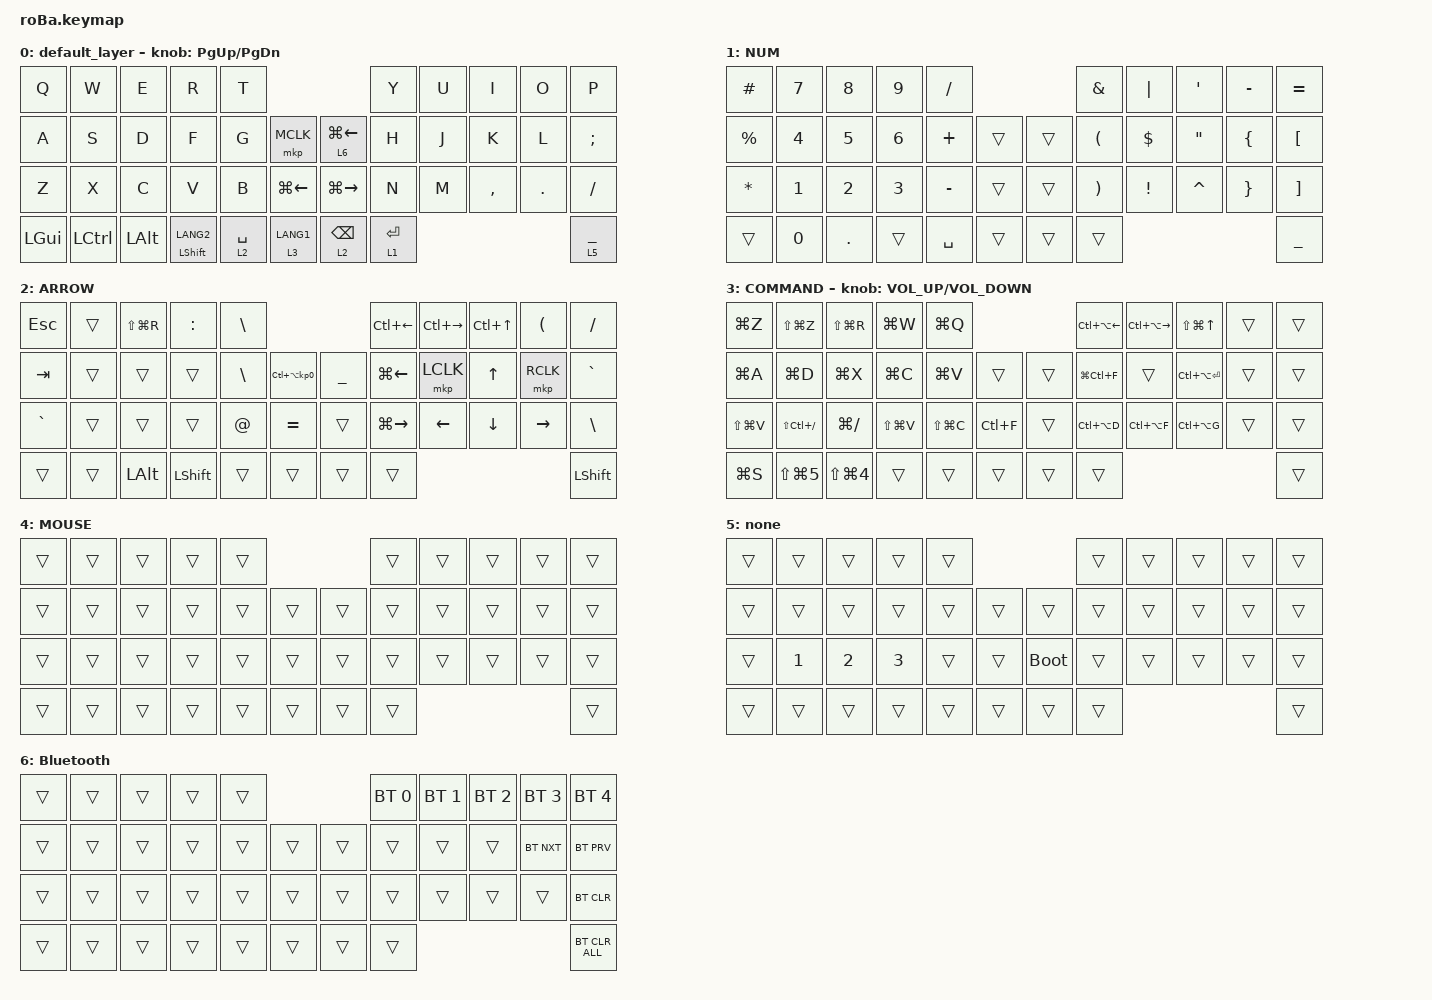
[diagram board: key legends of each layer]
#include <behaviors.dtsi>
#include <dt-bindings/zmk/bt.h>
#include <dt-bindings/zmk/keys.h>
#include <dt-bindings/zmk/mouse.h>

#define MOUSE 4
#define SCROLL 5
#define NUM 6

&mt {
    flavor = "balanced";
    quick-tap-ms = <0>;
};

/ {
    combos {
        compatible = "zmk,combos";

        tab {
            bindings = <&kp TAB>;
            key-positions = <11 12>;
        };

        shift_tab {
            bindings = <&kp LS(TAB)>;
            key-positions = <12 13>;
        };

        muhennkann {
            bindings = <&to_layer_0 INT_MUHENKAN>;
            key-positions = <11 10>;
        };

        double_quotation {
            bindings = <&kp DOUBLE_QUOTES>;
            key-positions = <20 21>;
        };

        eq {
            bindings = <&kp EQUAL>;
            key-positions = <24 25>;
        };
    };

    macros {
        to_layer_0: to_layer_0 {
            compatible = "zmk,behavior-macro-one-param";
            #binding-cells = <1>;
            bindings = <&to 0 &macro_param_1to1 &kp MACRO_PLACEHOLDER>;
            label = "TO_LAYER_0";
        };
    };

    behaviors {
        lt_to_layer_0: lt_to_layer_0 {
            compatible = "zmk,behavior-hold-tap";
            label = "LAYER_TAP_TO_0";
            bindings = <&mo>, <&to_layer_0>;

            #binding-cells = <2>;
            tapping-term-ms = <200>;
        };
    };

    keymap {
        compatible = "zmk,keymap";

        default_layer {
            bindings = <
&kp Q         &kp W             &kp E         &kp R                 &kp T                                                    &kp Y        &kp U  &kp I      &kp O    &kp P
&kp A         &kp S             &kp D         &kp F                 &kp G        &mkp MCLK             &lt 6 LG(LEFT_ARROW)  &kp H        &kp J  &kp K      &kp L    &kp SEMI
&kp Z         &kp X             &kp C         &kp V                 &kp B        &kp LG(LEFT_ARROW)    &kp LG(RIGHT_ARROW)   &kp N        &kp M  &kp COMMA  &kp DOT  &kp SLASH
&kp LEFT_GUI  &kp LEFT_CONTROL  &kp LEFT_ALT  &mt LEFT_SHIFT LANG2  &lt 2 SPACE  &lt 3 LANG1           &lt 2 BACKSPACE       &lt 1 ENTER                             &lt 5 UNDERSCORE
            >;

            sensor-bindings = <&inc_dec_kp PG_UP PAGE_DOWN>;
        };

        NUM {
            bindings = <
&kp HASH      &kp N7        &kp N8        &kp N9        &kp SLASH                    &kp AMPERSAND          &kp PIPE         &kp SINGLE_QUOTE   &kp MINUS        &kp EQUAL
&kp PERCENT   &kp NUMBER_4  &kp N5        &kp NUMBER_6  &kp PLUS   &trans    &trans  &kp LEFT_PARENTHESIS   &kp DOLLAR       &kp DOUBLE_QUOTES  &kp LEFT_BRACE   &kp LEFT_BRACKET
&kp ASTERISK  &kp NUMBER_1  &kp NUMBER_2  &kp NUMBER_3  &kp MINUS  &trans    &trans  &kp RIGHT_PARENTHESIS  &kp EXCLAMATION  &kp CARET          &kp RIGHT_BRACE  &kp RIGHT_BRACKET
&trans        &kp N0        &kp PERIOD    &trans        &kp SPACE  &trans    &trans  &trans                                                                      &kp UNDERSCORE
            >;
        };

        ARROW {
            bindings = <
&kp ESCAPE  &trans  &kp LS(LG(R))  &kp COLON       &kp BACKSLASH                                             &kp LC(LEFT)        &kp LC(RIGHT_ARROW)  &kp LC(UP_ARROW)  &kp LEFT_PARENTHESIS  &kp SLASH
&kp TAB     &trans  &trans         &trans          &kp BACKSLASH  &kp LC(LA(KP_NUMBER_0))    &kp UNDERSCORE  &kp LG(LEFT_ARROW)  &mkp LCLK            &kp UP_ARROW      &mkp RCLK             &kp GRAVE
&kp GRAVE   &trans  &trans         &trans          &kp AT         &kp EQUAL                  &trans          &kp LG(RIGHT)       &kp LEFT_ARROW       &kp DOWN_ARROW    &kp RIGHT_ARROW       &kp BACKSLASH
&trans      &trans  &kp LEFT_ALT   &kp LEFT_SHIFT  &trans         &trans                     &trans          &trans                                                                           &kp LEFT_SHIFT
            >;
        };

        COMMAND {
            bindings = <
&kp LG(Z)      &kp LS(LG(Z))      &kp LS(LG(R))         &kp LG(W)      &kp LG(Q)                           &kp LC(LA(LEFT))  &kp LC(LA(RIGHT))  &kp LS(LG(UP_ARROW))  &trans  &trans
&kp LG(A)      &kp LG(D)          &kp LG(X)             &kp LG(C)      &kp LG(V)      &trans       &trans  &kp LG(LC(F))     &trans             &kp LC(LA(ENTER))     &trans  &trans
&kp LS(LG(V))  &kp LS(LC(SLASH))  &kp LG(SLASH)         &kp LS(LG(V))  &kp LS(LG(C))  &kp LC(F)    &trans  &kp LC(LA(D))     &kp LC(LA(F))      &kp LC(LA(G))         &trans  &trans
&kp LG(S)      &kp LS(LG(N5))     &kp LS(LG(NUMBER_4))  &trans         &trans         &trans       &trans  &trans                                                             &trans
            >;

            sensor-bindings = <&inc_dec_kp C_VOLUME_UP C_VOLUME_DOWN>;
        };

        MOUSE {
            bindings = <
&trans  &trans  &trans  &trans  &trans                    &trans  &trans  &trans  &trans  &trans
&trans  &trans  &trans  &trans  &trans  &trans    &trans  &trans  &trans  &trans  &trans  &trans
&trans  &trans  &trans  &trans  &trans  &trans    &trans  &trans  &trans  &trans  &trans  &trans
&trans  &trans  &trans  &trans  &trans  &trans    &trans  &trans                          &trans
            >;
        };

        none {
            bindings = <
&trans  &trans        &trans        &trans        &trans                         &trans  &trans  &trans  &trans  &trans
&trans  &trans        &trans        &trans        &trans  &trans    &trans       &trans  &trans  &trans  &trans  &trans
&trans  &kp NUMBER_1  &kp NUMBER_2  &kp NUMBER_3  &trans  &trans    &bootloader  &trans  &trans  &trans  &trans  &trans
&trans  &trans        &trans        &trans        &trans  &trans    &trans       &trans                          &trans
            >;
        };

        Bluetooth {
            bindings = <
&trans  &trans  &trans  &trans  &trans                    &bt BT_SEL 0  &bt BT_SEL 1  &bt BT_SEL 2  &bt BT_SEL 3  &bt BT_SEL 4
&trans  &trans  &trans  &trans  &trans  &trans    &trans  &trans        &trans        &trans        &bt BT_NXT    &bt BT_PRV
&trans  &trans  &trans  &trans  &trans  &trans    &trans  &trans        &trans        &trans        &trans        &bt BT_CLR
&trans  &trans  &trans  &trans  &trans  &trans    &trans  &trans                                                  &bt BT_CLR_ALL
            >;
        };
    };
};
